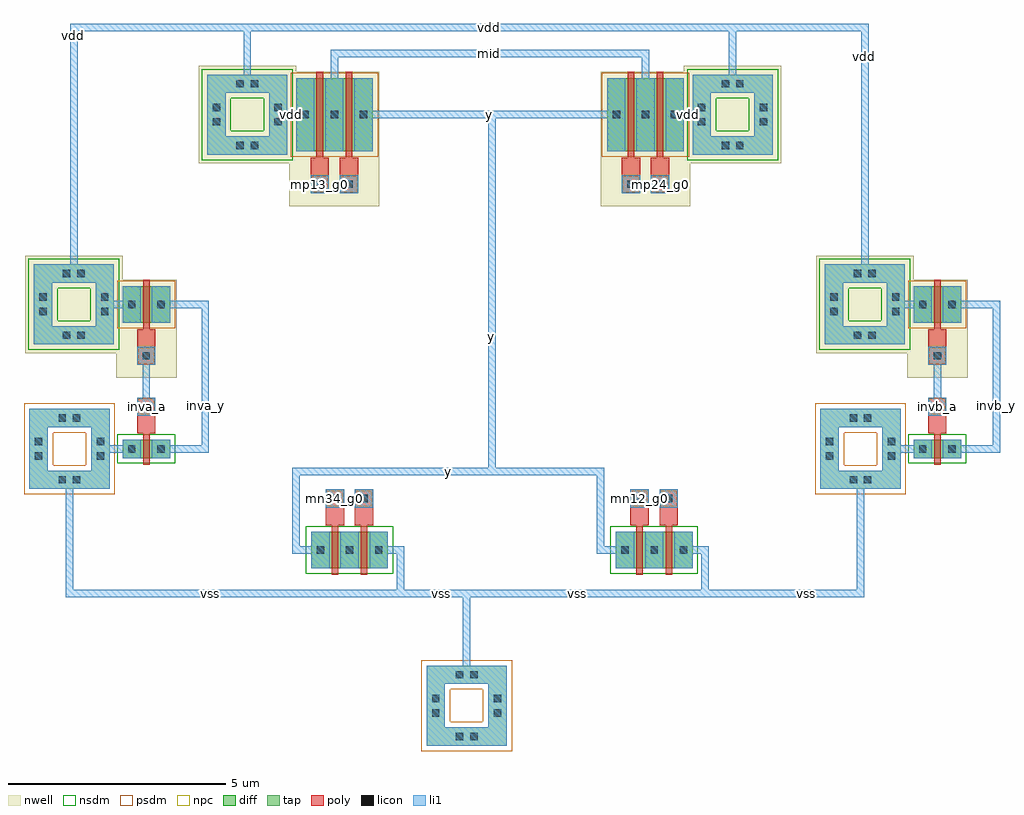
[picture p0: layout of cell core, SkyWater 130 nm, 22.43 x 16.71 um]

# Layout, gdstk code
from math import pi, radians
import gdstk
lib = gdstk.Library(unit=1e-6, precision=1e-09)
def R(c, l, rs):  # rectangles x0, y0, x1, y1
    for r in rs: c.add(gdstk.rectangle(r[:2], r[2:], *l))
def A(c, l, x, y, w, h, nx, ny, dx, dy):  # array of equal rectangles
    R(c, l, [(x+i*dx, y+j*dy, x+i*dx+w, y+j*dy+h) for i in range(nx) for j in range(ny)])
def P(c, l, *ps):  # polygons
    for p in ps: c.add(gdstk.Polygon(p, *l))
nwell = (64, 20)
diff = (65, 20)
tap = (65, 44)
poly = (66, 20)
licon = (66, 44)
li1 = (67, 20)
nsdm = (93, 44)
psdm = (94, 20)
npc = (95, 20)

mos_array = lib.new_cell('mos_array')
R(mos_array, nwell, [(-0.15,-0.15,1.91,2.95)])
R(mos_array, diff, [(0,0,1.76,1.68)])
R(mos_array, poly, [(0.47,-0.15,0.62,1.68), (1.14,-0.15,1.29,1.68), (0.47,1.68,0.62,1.83), (0.47,1.68,0.62,1.83), (1.14,1.68,1.29,1.83), (1.14,1.68,1.29,1.83), (0.335,1.83,0.755,2.65), (1.005,1.83,1.425,2.65)])
A(mos_array, licon, 0.125, 0.755, 0.17, 0.17, 3, 1, 0.67, 0)
R(mos_array, licon, [(0.46,2.355,0.63,2.525), (1.13,2.355,1.3,2.525)])
A(mos_array, li1, 0, 0, 0.42, 1.68, 3, 1, 0.67, 0)
R(mos_array, li1, [(0.335,2.23,0.755,2.65), (1.005,2.23,1.425,2.65)])
R(mos_array, psdm, [(-0.125,-0.125,1.885,1.805)])
R(mos_array, npc, [(0.365,2.26,0.725,2.62), (1.035,2.26,1.395,2.62)])

mp13__mp13 = lib.new_cell('mp13__mp13')
mp13__mp13.add(gdstk.Reference(mos_array, (0,0)))

mos_array_1 = lib.new_cell('mos_array$1')
R(mos_array_1, nwell, [(-0.15,-0.15,1.91,2.95)])
R(mos_array_1, diff, [(0,0,1.76,1.68)])
R(mos_array_1, poly, [(0.47,-0.15,0.62,1.68), (1.14,-0.15,1.29,1.68), (0.47,1.68,0.62,1.83), (0.47,1.68,0.62,1.83), (1.14,1.68,1.29,1.83), (1.14,1.68,1.29,1.83), (0.335,1.83,0.755,2.65), (1.005,1.83,1.425,2.65)])
A(mos_array_1, licon, 0.125, 0.755, 0.17, 0.17, 3, 1, 0.67, 0)
R(mos_array_1, licon, [(0.46,2.355,0.63,2.525), (1.13,2.355,1.3,2.525)])
A(mos_array_1, li1, 0, 0, 0.42, 1.68, 3, 1, 0.67, 0)
R(mos_array_1, li1, [(0.335,2.23,0.755,2.65), (1.005,2.23,1.425,2.65)])
R(mos_array_1, psdm, [(-0.125,-0.125,1.885,1.805)])
R(mos_array_1, npc, [(0.365,2.26,0.725,2.62), (1.035,2.26,1.395,2.62)])

mp24__mp24 = lib.new_cell('mp24__mp24')
mp24__mp24.add(gdstk.Reference(mos_array_1, (0,0)))

mos_array_2 = lib.new_cell('mos_array$2')
R(mos_array_2, diff, [(0,0,1.76,0.84)])
R(mos_array_2, poly, [(0.47,-0.15,0.62,0.84), (1.14,-0.15,1.29,0.84), (0.47,0.84,0.62,0.99), (0.47,0.84,0.62,0.99), (1.14,0.84,1.29,0.99), (1.14,0.84,1.29,0.99), (0.335,0.99,0.755,1.81), (1.005,0.99,1.425,1.81)])
A(mos_array_2, licon, 0.125, 0.335, 0.17, 0.17, 3, 1, 0.67, 0)
R(mos_array_2, licon, [(0.46,1.515,0.63,1.685), (1.13,1.515,1.3,1.685)])
A(mos_array_2, li1, 0, 0, 0.42, 0.84, 3, 1, 0.67, 0)
R(mos_array_2, li1, [(0.335,1.39,0.755,1.81), (1.005,1.39,1.425,1.81)])
R(mos_array_2, nsdm, [(-0.125,-0.125,1.885,0.965)])
R(mos_array_2, npc, [(0.365,1.42,0.725,1.78), (1.035,1.42,1.395,1.78)])

mn34__mn34 = lib.new_cell('mn34__mn34')
mn34__mn34.add(gdstk.Reference(mos_array_2, (0,0)))

mos_array_3 = lib.new_cell('mos_array$3')
R(mos_array_3, diff, [(0,0,1.76,0.84)])
R(mos_array_3, poly, [(0.47,-0.15,0.62,0.84), (1.14,-0.15,1.29,0.84), (0.47,0.84,0.62,0.99), (0.47,0.84,0.62,0.99), (1.14,0.84,1.29,0.99), (1.14,0.84,1.29,0.99), (0.335,0.99,0.755,1.81), (1.005,0.99,1.425,1.81)])
A(mos_array_3, licon, 0.125, 0.335, 0.17, 0.17, 3, 1, 0.67, 0)
R(mos_array_3, licon, [(0.46,1.515,0.63,1.685), (1.13,1.515,1.3,1.685)])
A(mos_array_3, li1, 0, 0, 0.42, 0.84, 3, 1, 0.67, 0)
R(mos_array_3, li1, [(0.335,1.39,0.755,1.81), (1.005,1.39,1.425,1.81)])
R(mos_array_3, nsdm, [(-0.125,-0.125,1.885,0.965)])
R(mos_array_3, npc, [(0.365,1.42,0.725,1.78), (1.035,1.42,1.395,1.78)])

mn12__mn12 = lib.new_cell('mn12__mn12')
mn12__mn12.add(gdstk.Reference(mos_array_3, (0,0)))

guard_ring = lib.new_cell('guard_ring')
R(guard_ring, nwell, [(-0.2,-0.2,2.04,2.04)])
P(guard_ring, tap, [(0,0),(0,1.42),(0.42,1.42),(0.42,0.42),(1.42,0.42),(1.42,1.42),(0,1.42),(0,1.84),(1.84,1.84),(1.84,0)])
R(guard_ring, licon, [(0.67,0.125,0.84,0.295), (1,0.125,1.17,0.295), (0.125,0.67,0.295,0.84), (1.545,0.67,1.715,0.84), (0.125,1,0.295,1.17), (1.545,1,1.715,1.17), (0.67,1.545,0.84,1.715), (1,1.545,1.17,1.715)])
P(guard_ring, li1, [(0,0),(0,1.42),(0.42,1.42),(0.42,0.42),(1.42,0.42),(1.42,1.42),(0,1.42),(0,1.84),(1.84,1.84),(1.84,0)])
P(guard_ring, nsdm, [(-0.125,-0.125),(-0.125,1.295),(0.545,1.295),(0.545,0.545),(1.295,0.545),(1.295,1.295),(-0.125,1.295),(-0.125,1.965),(1.965,1.965),(1.965,-0.125)])

nwt1__nwt1 = lib.new_cell('nwt1__nwt1')
nwt1__nwt1.add(gdstk.Reference(guard_ring, (0,0)))

guard_ring_1 = lib.new_cell('guard_ring$1')
R(guard_ring_1, nwell, [(-0.2,-0.2,2.04,2.04)])
P(guard_ring_1, tap, [(0,0),(0,1.42),(0.42,1.42),(0.42,0.42),(1.42,0.42),(1.42,1.42),(0,1.42),(0,1.84),(1.84,1.84),(1.84,0)])
R(guard_ring_1, licon, [(0.67,0.125,0.84,0.295), (1,0.125,1.17,0.295), (0.125,0.67,0.295,0.84), (1.545,0.67,1.715,0.84), (0.125,1,0.295,1.17), (1.545,1,1.715,1.17), (0.67,1.545,0.84,1.715), (1,1.545,1.17,1.715)])
P(guard_ring_1, li1, [(0,0),(0,1.42),(0.42,1.42),(0.42,0.42),(1.42,0.42),(1.42,1.42),(0,1.42),(0,1.84),(1.84,1.84),(1.84,0)])
P(guard_ring_1, nsdm, [(-0.125,-0.125),(-0.125,1.295),(0.545,1.295),(0.545,0.545),(1.295,0.545),(1.295,1.295),(-0.125,1.295),(-0.125,1.965),(1.965,1.965),(1.965,-0.125)])

nwt2__nwt2 = lib.new_cell('nwt2__nwt2')
nwt2__nwt2.add(gdstk.Reference(guard_ring_1, (0,0)))

guard_ring_2 = lib.new_cell('guard_ring$2')
P(guard_ring_2, tap, [(0,0),(0,1.42),(0.42,1.42),(0.42,0.42),(1.42,0.42),(1.42,1.42),(0,1.42),(0,1.84),(1.84,1.84),(1.84,0)])
R(guard_ring_2, licon, [(0.67,0.125,0.84,0.295), (1,0.125,1.17,0.295), (0.125,0.67,0.295,0.84), (1.545,0.67,1.715,0.84), (0.125,1,0.295,1.17), (1.545,1,1.715,1.17), (0.67,1.545,0.84,1.715), (1,1.545,1.17,1.715)])
P(guard_ring_2, li1, [(0,0),(0,1.42),(0.42,1.42),(0.42,0.42),(1.42,0.42),(1.42,1.42),(0,1.42),(0,1.84),(1.84,1.84),(1.84,0)])
P(guard_ring_2, psdm, [(-0.125,-0.125),(-0.125,1.295),(0.545,1.295),(0.545,0.545),(1.295,0.545),(1.295,1.295),(-0.125,1.295),(-0.125,1.965),(1.965,1.965),(1.965,-0.125)])

pst__pst = lib.new_cell('pst__pst')
pst__pst.add(gdstk.Reference(guard_ring_2, (0,0)))

mos_array_1_1 = lib.new_cell('mos_array$1$1')
R(mos_array_1_1, nwell, [(-0.15,-0.15,1.24,2.11)])
R(mos_array_1_1, diff, [(0,0,1.09,0.84)])
R(mos_array_1_1, poly, [(0.47,-0.15,0.62,0.84), (0.47,0.84,0.62,0.99), (0.47,0.84,0.62,0.99), (0.335,0.99,0.755,1.81)])
R(mos_array_1_1, licon, [(0.125,0.335,0.295,0.505), (0.795,0.335,0.965,0.505), (0.46,1.515,0.63,1.685)])
R(mos_array_1_1, li1, [(0,0,0.42,0.84), (0.67,0,1.09,0.84), (0.335,1.39,0.755,1.81)])
R(mos_array_1_1, psdm, [(-0.125,-0.125,1.215,0.965)])
R(mos_array_1_1, npc, [(0.365,1.42,0.725,1.78)])

mp__pfet_w0p84_l0p15 = lib.new_cell('mp__pfet_w0p84_l0p15')
mp__pfet_w0p84_l0p15.add(gdstk.Reference(mos_array_1_1, (0,0)))

guard_ring_1_1 = lib.new_cell('guard_ring$1$1')
R(guard_ring_1_1, nwell, [(-0.2,-0.2,2.04,2.04)])
P(guard_ring_1_1, tap, [(0,0),(0,1.42),(0.42,1.42),(0.42,0.42),(1.42,0.42),(1.42,1.42),(0,1.42),(0,1.84),(1.84,1.84),(1.84,0)])
R(guard_ring_1_1, licon, [(0.67,0.125,0.84,0.295), (1,0.125,1.17,0.295), (0.125,0.67,0.295,0.84), (1.545,0.67,1.715,0.84), (0.125,1,0.295,1.17), (1.545,1,1.715,1.17), (0.67,1.545,0.84,1.715), (1,1.545,1.17,1.715)])
P(guard_ring_1_1, li1, [(0,0),(0,1.42),(0.42,1.42),(0.42,0.42),(1.42,0.42),(1.42,1.42),(0,1.42),(0,1.84),(1.84,1.84),(1.84,0)])
P(guard_ring_1_1, nsdm, [(-0.125,-0.125),(-0.125,1.295),(0.545,1.295),(0.545,0.545),(1.295,0.545),(1.295,1.295),(-0.125,1.295),(-0.125,1.965),(1.965,1.965),(1.965,-0.125)])

nwell_tap__nwell_tap = lib.new_cell('nwell_tap__nwell_tap')
nwell_tap__nwell_tap.add(gdstk.Reference(guard_ring_1_1, (0,0)))

mos_array_4 = lib.new_cell('mos_array$4')
R(mos_array_4, diff, [(0,0,1.09,0.42)])
R(mos_array_4, poly, [(0.47,-0.15,0.62,0.42), (0.47,0.42,0.62,0.57), (0.47,0.42,0.62,0.57), (0.335,0.57,0.755,1.39)])
R(mos_array_4, licon, [(0.125,0.125,0.295,0.295), (0.795,0.125,0.965,0.295), (0.46,1.095,0.63,1.265)])
R(mos_array_4, li1, [(0,0,0.42,0.42), (0.67,0,1.09,0.42), (0.335,0.97,0.755,1.39)])
R(mos_array_4, nsdm, [(-0.125,-0.125,1.215,0.545)])
R(mos_array_4, npc, [(0.365,1,0.725,1.36)])

mn__nfet_w0p42_l0p15 = lib.new_cell('mn__nfet_w0p42_l0p15')
mn__nfet_w0p42_l0p15.add(gdstk.Reference(mos_array_4, (0,0)))

guard_ring_3 = lib.new_cell('guard_ring$3')
P(guard_ring_3, tap, [(0,0),(0,1.42),(0.42,1.42),(0.42,0.42),(1.42,0.42),(1.42,1.42),(0,1.42),(0,1.84),(1.84,1.84),(1.84,0)])
R(guard_ring_3, licon, [(0.67,0.125,0.84,0.295), (1,0.125,1.17,0.295), (0.125,0.67,0.295,0.84), (1.545,0.67,1.715,0.84), (0.125,1,0.295,1.17), (1.545,1,1.715,1.17), (0.67,1.545,0.84,1.715), (1,1.545,1.17,1.715)])
P(guard_ring_3, li1, [(0,0),(0,1.42),(0.42,1.42),(0.42,0.42),(1.42,0.42),(1.42,1.42),(0,1.42),(0,1.84),(1.84,1.84),(1.84,0)])
P(guard_ring_3, psdm, [(-0.125,-0.125),(-0.125,1.295),(0.545,1.295),(0.545,0.545),(1.295,0.545),(1.295,1.295),(-0.125,1.295),(-0.125,1.965),(1.965,1.965),(1.965,-0.125)])

psub_tap__psub_tap = lib.new_cell('psub_tap__psub_tap')
psub_tap__psub_tap.add(gdstk.Reference(guard_ring_3, (0,0)))

inv_a__ro_buf = lib.new_cell('inv_a__ro_buf')
R(inv_a__ro_buf, li1, [(0.335,1.18,0.755,1.35), (0.335,2.18,0.755,2.35)])
inv_a__ro_buf.add(gdstk.FlexPath([(0.545,2.35),(0.545,1.18)], 0.17, ends="flush", simple_path=True, layer=67, datatype=20))  # li1
inv_a__ro_buf.add(gdstk.FlexPath([(0.88,3.53),(1.9,3.53),(1.9,0.21),(0.88,0.21)], 0.17, ends="flush", simple_path=True, layer=67, datatype=20))  # li1
inv_a__ro_buf.add(gdstk.FlexPath([(0.21,3.53),(-0.41,3.53)], 0.17, ends="flush", simple_path=True, layer=67, datatype=20))  # li1
inv_a__ro_buf.add(gdstk.FlexPath([(0.21,0.21),(-0.51,0.21)], 0.17, ends="flush", simple_path=True, layer=67, datatype=20))  # li1
inv_a__ro_buf.add(gdstk.Reference(mp__pfet_w0p84_l0p15, (0,3.95), x_reflection=True))
inv_a__ro_buf.add(gdstk.Reference(nwell_tap__nwell_tap, (-2.04,2.61)))
inv_a__ro_buf.add(gdstk.Reference(mn__nfet_w0p42_l0p15, (0,0)))
inv_a__ro_buf.add(gdstk.Reference(psub_tap__psub_tap, (-2.14,-0.71)))
inv_a__ro_buf.add(gdstk.Label('a', (0.545,1.765), layer=67, texttype=5))
inv_a__ro_buf.add(gdstk.Label('y', (1.9,1.87), layer=67, texttype=5))
inv_a__ro_buf.add(gdstk.Label('vdd', (-0.1,3.53), layer=67, texttype=5))
inv_a__ro_buf.add(gdstk.Label('vss', (-0.15,0.21), layer=67, texttype=5))
inv_a__ro_buf.add(gdstk.Label('vdd', (-1.12,4.24), layer=67, texttype=5))
inv_a__ro_buf.add(gdstk.Label('vss', (-1.22,0.92), layer=67, texttype=5))

mos_array_1_2 = lib.new_cell('mos_array$1$2')
R(mos_array_1_2, nwell, [(-0.15,-0.15,1.24,2.11)])
R(mos_array_1_2, diff, [(0,0,1.09,0.84)])
R(mos_array_1_2, poly, [(0.47,-0.15,0.62,0.84), (0.47,0.84,0.62,0.99), (0.47,0.84,0.62,0.99), (0.335,0.99,0.755,1.81)])
R(mos_array_1_2, licon, [(0.125,0.335,0.295,0.505), (0.795,0.335,0.965,0.505), (0.46,1.515,0.63,1.685)])
R(mos_array_1_2, li1, [(0,0,0.42,0.84), (0.67,0,1.09,0.84), (0.335,1.39,0.755,1.81)])
R(mos_array_1_2, psdm, [(-0.125,-0.125,1.215,0.965)])
R(mos_array_1_2, npc, [(0.365,1.42,0.725,1.78)])

mp__pfet_w0p84_l0p15_1 = lib.new_cell('mp__pfet_w0p84_l0p15$1')
mp__pfet_w0p84_l0p15_1.add(gdstk.Reference(mos_array_1_2, (0,0)))

guard_ring_1_2 = lib.new_cell('guard_ring$1$2')
R(guard_ring_1_2, nwell, [(-0.2,-0.2,2.04,2.04)])
P(guard_ring_1_2, tap, [(0,0),(0,1.42),(0.42,1.42),(0.42,0.42),(1.42,0.42),(1.42,1.42),(0,1.42),(0,1.84),(1.84,1.84),(1.84,0)])
R(guard_ring_1_2, licon, [(0.67,0.125,0.84,0.295), (1,0.125,1.17,0.295), (0.125,0.67,0.295,0.84), (1.545,0.67,1.715,0.84), (0.125,1,0.295,1.17), (1.545,1,1.715,1.17), (0.67,1.545,0.84,1.715), (1,1.545,1.17,1.715)])
P(guard_ring_1_2, li1, [(0,0),(0,1.42),(0.42,1.42),(0.42,0.42),(1.42,0.42),(1.42,1.42),(0,1.42),(0,1.84),(1.84,1.84),(1.84,0)])
P(guard_ring_1_2, nsdm, [(-0.125,-0.125),(-0.125,1.295),(0.545,1.295),(0.545,0.545),(1.295,0.545),(1.295,1.295),(-0.125,1.295),(-0.125,1.965),(1.965,1.965),(1.965,-0.125)])

nwell_tap__nwell_tap_1 = lib.new_cell('nwell_tap__nwell_tap$1')
nwell_tap__nwell_tap_1.add(gdstk.Reference(guard_ring_1_2, (0,0)))

mos_array_5 = lib.new_cell('mos_array$5')
R(mos_array_5, diff, [(0,0,1.09,0.42)])
R(mos_array_5, poly, [(0.47,-0.15,0.62,0.42), (0.47,0.42,0.62,0.57), (0.47,0.42,0.62,0.57), (0.335,0.57,0.755,1.39)])
R(mos_array_5, licon, [(0.125,0.125,0.295,0.295), (0.795,0.125,0.965,0.295), (0.46,1.095,0.63,1.265)])
R(mos_array_5, li1, [(0,0,0.42,0.42), (0.67,0,1.09,0.42), (0.335,0.97,0.755,1.39)])
R(mos_array_5, nsdm, [(-0.125,-0.125,1.215,0.545)])
R(mos_array_5, npc, [(0.365,1,0.725,1.36)])

mn__nfet_w0p42_l0p15_1 = lib.new_cell('mn__nfet_w0p42_l0p15$1')
mn__nfet_w0p42_l0p15_1.add(gdstk.Reference(mos_array_5, (0,0)))

guard_ring_4 = lib.new_cell('guard_ring$4')
P(guard_ring_4, tap, [(0,0),(0,1.42),(0.42,1.42),(0.42,0.42),(1.42,0.42),(1.42,1.42),(0,1.42),(0,1.84),(1.84,1.84),(1.84,0)])
R(guard_ring_4, licon, [(0.67,0.125,0.84,0.295), (1,0.125,1.17,0.295), (0.125,0.67,0.295,0.84), (1.545,0.67,1.715,0.84), (0.125,1,0.295,1.17), (1.545,1,1.715,1.17), (0.67,1.545,0.84,1.715), (1,1.545,1.17,1.715)])
P(guard_ring_4, li1, [(0,0),(0,1.42),(0.42,1.42),(0.42,0.42),(1.42,0.42),(1.42,1.42),(0,1.42),(0,1.84),(1.84,1.84),(1.84,0)])
P(guard_ring_4, psdm, [(-0.125,-0.125),(-0.125,1.295),(0.545,1.295),(0.545,0.545),(1.295,0.545),(1.295,1.295),(-0.125,1.295),(-0.125,1.965),(1.965,1.965),(1.965,-0.125)])

psub_tap__psub_tap_1 = lib.new_cell('psub_tap__psub_tap$1')
psub_tap__psub_tap_1.add(gdstk.Reference(guard_ring_4, (0,0)))

inv_b__ro_buf = lib.new_cell('inv_b__ro_buf')
R(inv_b__ro_buf, li1, [(0.335,1.18,0.755,1.35), (0.335,2.18,0.755,2.35)])
inv_b__ro_buf.add(gdstk.FlexPath([(0.545,2.35),(0.545,1.18)], 0.17, ends="flush", simple_path=True, layer=67, datatype=20))  # li1
inv_b__ro_buf.add(gdstk.FlexPath([(0.88,3.53),(1.9,3.53),(1.9,0.21),(0.88,0.21)], 0.17, ends="flush", simple_path=True, layer=67, datatype=20))  # li1
inv_b__ro_buf.add(gdstk.FlexPath([(0.21,3.53),(-0.41,3.53)], 0.17, ends="flush", simple_path=True, layer=67, datatype=20))  # li1
inv_b__ro_buf.add(gdstk.FlexPath([(0.21,0.21),(-0.51,0.21)], 0.17, ends="flush", simple_path=True, layer=67, datatype=20))  # li1
inv_b__ro_buf.add(gdstk.Reference(mp__pfet_w0p84_l0p15_1, (0,3.95), x_reflection=True))
inv_b__ro_buf.add(gdstk.Reference(nwell_tap__nwell_tap_1, (-2.04,2.61)))
inv_b__ro_buf.add(gdstk.Reference(mn__nfet_w0p42_l0p15_1, (0,0)))
inv_b__ro_buf.add(gdstk.Reference(psub_tap__psub_tap_1, (-2.14,-0.71)))
inv_b__ro_buf.add(gdstk.Label('a', (0.545,1.765), layer=67, texttype=5))
inv_b__ro_buf.add(gdstk.Label('y', (1.9,1.87), layer=67, texttype=5))
inv_b__ro_buf.add(gdstk.Label('vdd', (-0.1,3.53), layer=67, texttype=5))
inv_b__ro_buf.add(gdstk.Label('vss', (-0.15,0.21), layer=67, texttype=5))
inv_b__ro_buf.add(gdstk.Label('vdd', (-1.12,4.24), layer=67, texttype=5))
inv_b__ro_buf.add(gdstk.Label('vss', (-1.22,0.92), layer=67, texttype=5))

core = lib.new_cell('core')
R(core, li1, [(3.71,0.13,4.13,0.3), (3.71,0.13,4.13,0.3), (-5.415,4.44,-4.995,4.61), (12.76,4.44,13.18,4.61), (-5.315,9.35,-4.895,9.52), (12.86,9.35,13.28,9.52), (0.67,13,1.09,13.17), (7.82,13,8.24,13.17), (-1.33,13.71,-0.91,13.88), (-1.33,13.71,-0.91,13.88), (9.82,13.71,10.24,13.88), (9.82,13.71,10.24,13.88)])
core.add(gdstk.FlexPath([(0.21,13),(-0.41,13)], 0.17, ends="flush", simple_path=True, layer=67, datatype=20))  # li1
core.add(gdstk.FlexPath([(8.7,13),(9.32,13)], 0.17, ends="flush", simple_path=True, layer=67, datatype=20))  # li1
core.add(gdstk.FlexPath([(-5.105,9.35),(-5.105,15),(-1.12,15),(-1.12,13.71)], 0.17, ends="flush", simple_path=True, layer=67, datatype=20))  # li1
core.add(gdstk.FlexPath([(-1.12,13.71),(-1.12,15),(10.03,15),(10.03,13.71)], 0.17, ends="flush", simple_path=True, layer=67, datatype=20))  # li1
core.add(gdstk.FlexPath([(10.03,13.71),(10.03,15),(13.07,15),(13.07,9.35)], 0.17, ends="flush", simple_path=True, layer=67, datatype=20))  # li1
core.add(gdstk.FlexPath([(0.88,13),(0.88,14.4),(8.03,14.4),(8.03,13)], 0.17, ends="flush", simple_path=True, layer=67, datatype=20))  # li1
core.add(gdstk.FlexPath([(1.55,13),(7.36,13)], 0.17, ends="flush", simple_path=True, layer=67, datatype=20))  # li1
core.add(gdstk.FlexPath([(7.36,13),(4.5,13),(4.5,4.8),(7,4.8),(7,3),(7.56,3)], 0.17, ends="flush", simple_path=True, layer=67, datatype=20))  # li1
core.add(gdstk.FlexPath([(7.56,3),(7,3),(7,4.8),(0,4.8),(0,3),(0.56,3)], 0.17, ends="flush", simple_path=True, layer=67, datatype=20))  # li1
core.add(gdstk.FlexPath([(-5.205,4.61),(-5.205,2),(2.4,2),(2.4,3),(1.9,3)], 0.17, ends="flush", simple_path=True, layer=67, datatype=20))  # li1
core.add(gdstk.FlexPath([(1.9,3),(2.4,3),(2.4,2),(3.92,2),(3.92,0.13)], 0.17, ends="flush", simple_path=True, layer=67, datatype=20))  # li1
core.add(gdstk.FlexPath([(3.92,0.13),(3.92,2),(9.4,2),(9.4,3),(8.9,3)], 0.17, ends="flush", simple_path=True, layer=67, datatype=20))  # li1
core.add(gdstk.FlexPath([(8.9,3),(9.4,3),(9.4,2),(12.97,2),(12.97,4.61)], 0.17, ends="flush", simple_path=True, layer=67, datatype=20))  # li1
core.add(gdstk.Reference(mp13__mp13, (0,13.84), x_reflection=True))
core.add(gdstk.Reference(mp24__mp24, (8.91,13.84), rotation=pi))
core.add(gdstk.Reference(mn34__mn34, (0.35,2.58)))
core.add(gdstk.Reference(mn12__mn12, (7.35,2.58)))
core.add(gdstk.Reference(nwt1__nwt1, (-2.04,12.08)))
core.add(gdstk.Reference(nwt2__nwt2, (9.11,12.08)))
core.add(gdstk.Reference(pst__pst, (3,-1.5)))
core.add(gdstk.Reference(inv_a__ro_buf, (-3.985,5.11)))
core.add(gdstk.Reference(inv_b__ro_buf, (14.19,5.11)))
core.add(gdstk.Label('vdd', (-0.1,13), layer=67, texttype=5))
core.add(gdstk.Label('vdd', (9.01,13), layer=67, texttype=5))
core.add(gdstk.Label('vdd', (-5.105,14.812), layer=67, texttype=5))
core.add(gdstk.Label('vdd', (4.455,15), layer=67, texttype=5))
core.add(gdstk.Label('vdd', (13.07,14.34), layer=67, texttype=5))
core.add(gdstk.Label('mid', (4.455,14.4), layer=67, texttype=5))
core.add(gdstk.Label('y', (4.455,13), layer=67, texttype=5))
core.add(gdstk.Label('y', (4.5,7.9), layer=67, texttype=5))
core.add(gdstk.Label('y', (3.5,4.8), layer=67, texttype=5))
core.add(gdstk.Label('vss', (-1.958,2), layer=67, texttype=5))
core.add(gdstk.Label('vss', (3.345,2), layer=67, texttype=5))
core.add(gdstk.Label('vss', (6.475,2), layer=67, texttype=5))
core.add(gdstk.Label('vss', (11.74,2), layer=67, texttype=5))
core.add(gdstk.Label('mp13_g0', (0.545,11.4), layer=67, texttype=5))
core.add(gdstk.Label('mp13_g1', (1.215,11.4), layer=67, texttype=5))
core.add(gdstk.Label('mp24_g0', (8.365,11.4), layer=67, texttype=5))
core.add(gdstk.Label('mp24_g1', (7.695,11.4), layer=67, texttype=5))
core.add(gdstk.Label('mn34_g0', (0.895,4.18), layer=67, texttype=5))
core.add(gdstk.Label('mn34_g1', (1.565,4.18), layer=67, texttype=5))
core.add(gdstk.Label('mn12_g0', (7.895,4.18), layer=67, texttype=5))
core.add(gdstk.Label('mn12_g1', (8.565,4.18), layer=67, texttype=5))
core.add(gdstk.Label('inva_a', (-3.44,6.29), layer=67, texttype=5))
core.add(gdstk.Label('inva_y', (-2.085,6.31), layer=67, texttype=5))
core.add(gdstk.Label('invb_a', (14.735,6.29), layer=67, texttype=5))
core.add(gdstk.Label('invb_y', (16.09,6.31), layer=67, texttype=5))

lib.write_gds('core.gds')
